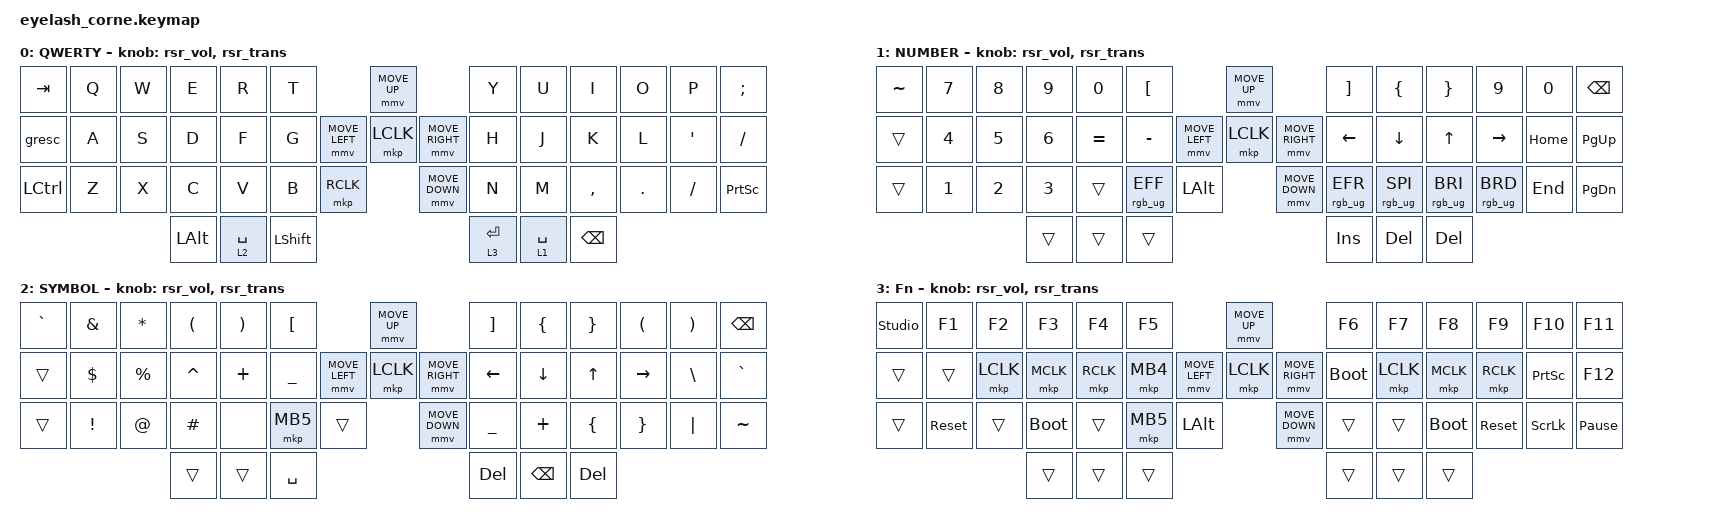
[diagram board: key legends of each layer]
#define ZMK_POINTING_DEFAULT_MOVE_VAL 1200  // 600
#define ZMK_POINTING_DEFAULT_SCRL_VAL 25   // 10

#include <input/processors.dtsi>
#include <zephyr/dt-bindings/input/input-event-codes.h>
#include <behaviors.dtsi>
#include <behaviors/runtime-sensor-rotate.dtsi>
#include <dt-bindings/zmk/bt.h>
#include <dt-bindings/zmk/keys.h>
#include <dt-bindings/zmk/outputs.h>
#include <dt-bindings/zmk/pointing.h>
#include <dt-bindings/zmk/rgb.h>

&soft_off { hold-time-ms = <2000>; };

/ {
    behaviors {
        td0: td0 {
            compatible = "zmk,behavior-tap-dance";
            display-name = "Shift/Caps Lock Tap Dance";
            #binding-cells = <0>;
            bindings = <&kp LEFT_SHIFT>, <&kp CAPS>;
        };

        rsr_vol: rsr_vol {
            compatible = "zmk,behavior-runtime-sensor-rotate";
            #sensor-binding-cells = <0>;
            tap-ms = <5>;
            cw-binding = <&kp C_VOL_UP>;
            ccw-binding = <&kp C_VOL_DN>;
        };

        rsr_trans: rsr_trans {
            compatible = "zmk,behavior-runtime-sensor-rotate";
            #sensor-binding-cells = <0>;
            tap-ms = <0>;
        };
    };

   combos {
        compatible = "zmk,combos";

        softoff {
            bindings = <&soft_off>;
            key-positions = <1 15 29>;
        };
    };

    keymap {
        compatible = "zmk,keymap";

        default_layer {
            display-name = "QWERTY";
            bindings = <
&kp TAB    &kp Q  &kp W  &kp E     &kp R        &kp T                                        &mmv MOVE_UP                     &kp Y        &kp U        &kp I      &kp O    &kp P     &kp SEMI
&gresc     &kp A  &kp S  &kp D     &kp F        &kp G                     &mmv MOVE_LEFT  &mkp LCLK  &mmv MOVE_RIGHT           &kp H        &kp J        &kp K      &kp L    &kp SQT   &kp FSLH
&kp LCTRL  &kp Z  &kp X  &kp C     &kp V        &kp B        &mkp RCLK                       &mmv MOVE_DOWN                   &kp N        &kp M        &kp COMMA  &kp DOT  &kp FSLH  &kp PRINTSCREEN
                         &kp LALT  &lt 2 SPACE  &kp LSHFT                                                                     &lt 3 ENTER  &lt 1 SPACE  &kp BSPC
            >;

            sensor-bindings = <&rsr_vol &rsr_trans>;
        };

        lower_layer {
            display-name = "NUMBER";
            bindings = <
&kp TILDE  &kp N7  &kp N8  &kp N9  &kp N0     &kp LBKT                                     &mmv MOVE_UP                     &kp RBKT         &kp LBRC         &kp RBRC         &kp N9           &kp N0    &kp BSPC
&trans     &kp N4  &kp N5  &kp N6  &kp EQUAL  &kp MINUS                 &mmv MOVE_LEFT  &mkp LCLK  &mmv MOVE_RIGHT          &kp LEFT         &kp DOWN         &kp UP           &kp RIGHT        &kp HOME  &kp PG_UP
&trans     &kp N1  &kp N2  &kp N3  &trans     &rgb_ug RGB_EFF  &kp LALT                    &mmv MOVE_DOWN                   &rgb_ug RGB_EFR  &rgb_ug RGB_SPI  &rgb_ug RGB_BRI  &rgb_ug RGB_BRD  &kp END   &kp PG_DN
                           &trans  &trans     &trans                                                                        &kp INS          &kp DEL          &kp DEL
            >;

            sensor-bindings = <&rsr_vol &rsr_trans>;
        };

        raise_layer {
            display-name = "SYMBOL";
            bindings = <
&kp GRAVE  &kp AMPS  &kp ASTRK  &kp LPAR  &kp RPAR  &kp LBKT                                &mmv MOVE_UP                     &kp RBKT   &kp LBRC  &kp RBRC  &kp LPAR   &kp RPAR  &kp BSPC
&trans     &kp DLLR  &kp PRCNT  &kp CARET &kp PLUS  &kp UNDER              &mmv MOVE_LEFT  &mkp LCLK  &mmv MOVE_RIGHT        &kp LEFT   &kp DOWN  &kp UP    &kp RIGHT  &kp BSLH  &kp GRAVE
&trans     &kp EXCL  &kp AT     &kp HASH  &none     &mkp MB5   &trans                        &mmv MOVE_DOWN                 &kp UNDER  &kp PLUS  &kp LBRC  &kp RBRC   &kp PIPE  &kp TILDE
                                &trans    &trans    &kp SPACE                                                               &kp DEL    &kp BSPC  &kp DEL
            >;

            sensor-bindings = <&rsr_vol &rsr_trans>;
        };

        layer_3 {
            display-name = "Fn";
            bindings = <
&studio_unlock  &kp F1      &kp F2     &kp F3       &kp F4     &kp F5                                    &mmv MOVE_UP                     &kp F6       &kp F7     &kp F8       &kp F9      &kp F10          &kp F11
&trans          &trans      &mkp LCLK  &mkp MCLK    &mkp RCLK  &mkp MB4                  &mmv MOVE_LEFT  &mkp LCLK  &mmv MOVE_RIGHT       &bootloader  &mkp LCLK  &mkp MCLK    &mkp RCLK   &kp PRINTSCREEN  &kp F12
&trans          &sys_reset  &trans     &bootloader  &trans     &mkp MB5   &kp LALT                         &mmv MOVE_DOWN                 &trans       &trans     &bootloader  &sys_reset  &kp SCROLLLOCK   &kp PAUSE_BREAK
                                       &trans       &trans     &trans                                                                     &trans       &trans     &trans
            >;

            sensor-bindings = <&rsr_vol &rsr_trans>;
        };
    };
};
